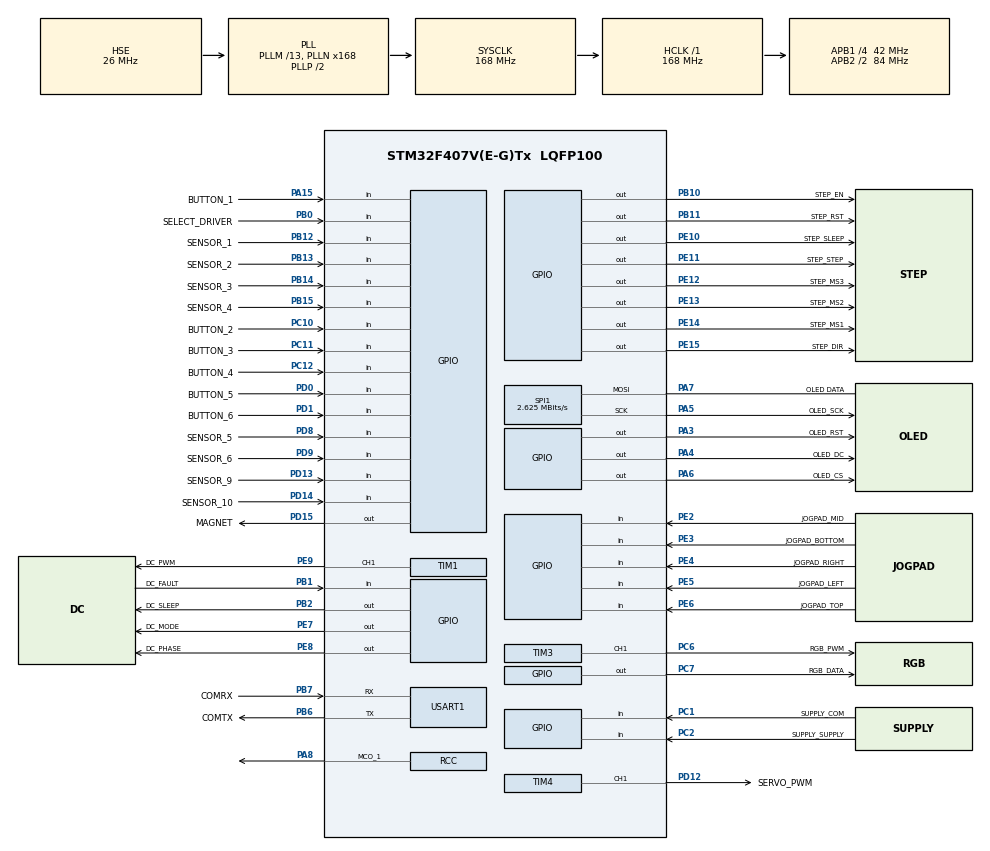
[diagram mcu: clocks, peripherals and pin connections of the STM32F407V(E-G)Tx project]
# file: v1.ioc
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PD12.GPIO_Label=SERVO_PWM
PH0-OSC_IN.Signal=RCC_OSC_IN
PC10.GPIO_PuPd=GPIO_PULLDOWN
SPI1.VirtualType=VM_MASTER
PC12.Signal=GPIO_Input
PB14.GPIO_Label=SENSOR_3
PC6.GPIO_Label=RGB_PWM
PA6.GPIO_Label=OLED_CS
PB6.GPIO_Label=COMTX
PA3.GPIO_Speed=GPIO_SPEED_FREQ_MEDIUM
PB13.Signal=GPIO_Input
PE6.GPIO_Label=JOGPAD_TOP
RCC.SYSCLKSource=RCC_SYSCLKSOURCE_PLLCLK
SPI1.Direction=SPI_DIRECTION_1LINE
RCC.APB2TimFreq_Value=168000000
PB6.Signal=USART1_TX
PC7.Signal=GPIO_Output
PB6.Mode=Asynchronous
SPI1.CalculateBaudRate=2.625 MBits/s
PD0.Signal=GPIO_Input
PD8.Signal=GPIO_Input
PE5.Signal=GPIO_Input
PB2.Signal=GPIO_Output
PD1.GPIO_Label=BUTTON_6
PB12.GPIO_Label=SENSOR_1
TIM1.Channel-PWM\ Generation1\ CH1=TIM_CHANNEL_1
PE9.Signal=S_TIM1_CH1
PB1.GPIO_Label=DC_FAULT
PE4.GPIO_Label=JOGPAD_RIGHT
PE2.Signal=GPIO_Input
PA8.Signal=RCC_MCO_1
PE10.Signal=GPIO_Output
Mcu.Package=LQFP100
PB1.Signal=GPIO_Input
PD12.Signal=S_TIM4_CH1
PE12.GPIO_Label=STEP_MS3
PE12.GPIO_Speed=GPIO_SPEED_FREQ_LOW
RCC.APB2CLKDivider=RCC_HCLK_DIV2
SH.S_TIM4_CH1.0=TIM4_CH1,PWM Generation1 CH1
RCC.APB1TimFreq_Value=84000000
PC12.GPIO_PuPd=GPIO_PULLDOWN
PA6.GPIO_Speed=GPIO_SPEED_FREQ_MEDIUM
NVIC.USART1_IRQn=true\:0\:0\:false\:true\:true\:1\:true\:true
PE10.GPIO_Label=STEP_SLEEP
PE6.GPIO_PuPd=GPIO_PULLDOWN
PA4.GPIO_Label=OLED_DC
PC6.GPIO_Speed=GPIO_SPEED_FREQ_HIGH
PD15.Signal=GPIO_Output
PA5.Mode=Simplex_Bidirectional_Master
PD9.GPIO_Label=SENSOR_6
PE11.GPIO_Speed=GPIO_SPEED_FREQ_HIGH
PC2.Signal=GPIO_Input
PC6.Signal=S_TIM3_CH1
PB11.GPIO_Label=STEP_RST
PD1.Signal=GPIO_Input
PD1.GPIO_PuPd=GPIO_PULLDOWN
RCC.APB1CLKDivider=RCC_HCLK_DIV4
PE8.GPIO_Label=DC_PHASE
PE9.GPIO_Label=DC_PWM
PB10.Signal=GPIO_Output
PB14.Signal=GPIO_Input
PE2.GPIO_PuPd=GPIO_PULLDOWN
PA5.Signal=SPI1_SCK
NVIC.TIM3_IRQn=true\:0\:0\:false\:false\:true\:true\:true
PE14.Signal=GPIO_Output
PE15.Signal=GPIO_Output
PB15.GPIO_Label=SENSOR_4
PE8.Signal=GPIO_Output
SPI1.Mode=SPI_MODE_MASTER
PE3.GPIO_PuPd=GPIO_PULLDOWN
PA13.Mode=Serial_Wire
PE4.GPIO_PuPd=GPIO_PULLDOWN
PC7.GPIO_Label=RGB_DATA
PA4.Signal=GPIO_Output
PE13.GPIO_Label=STEP_MS2
PA5.GPIO_Label=OLED_SCK
PE5.GPIO_Label=JOGPAD_LEFT
PC12.GPIO_Label=BUTTON_4
USART1.VirtualMode=VM_ASYNC
ProjectManager.HeapSize=0x200
PD0.GPIO_PuPd=GPIO_PULLDOWN
NVIC.PriorityGroup=NVIC_PRIORITYGROUP_4
PE3.Signal=GPIO_Input
PA8.Mode=Clock-out-1
PB0.Signal=GPIO_Input
PC1.Signal=GPIO_Input
Mcu.Family=STM32F4
RCC.CortexFreq_Value=168000000
PE11.GPIO_Label=STEP_STEP
PC10.Signal=GPIO_Input
PD0.GPIO_Label=BUTTON_5
PE9.GPIO_Speed=GPIO_SPEED_FREQ_HIGH
PB0.GPIO_Label=SELECT_DRIVER
PB13.GPIO_Label=SENSOR_2
PB11.Signal=GPIO_Output
PB15.Signal=GPIO_Input
ProjectManager.StackSize=0x400
PD13.Signal=GPIO_Input
PA15.GPIO_Label=BUTTON_1
PC11.GPIO_PuPd=GPIO_PULLDOWN
PE5.GPIO_PuPd=GPIO_PULLDOWN
RCC.HCLKFreq_Value=168000000
RCC.AHBFreq_Value=168000000
PH0-OSC_IN.Mode=HSE-External-Oscillator
TIM3.Channel-PWM\ Generation1\ CH1=TIM_CHANNEL_1
RCC.HSE_VALUE=26000000
PA4.GPIO_Speed=GPIO_SPEED_FREQ_MEDIUM
PE13.Signal=GPIO_Output
PA14.Mode=Serial_Wire
PC11.GPIO_Label=BUTTON_3
PB7.Signal=USART1_RX
SH.S_TIM3_CH1.0=TIM3_CH1,PWM Generation1 CH1
PE4.Signal=GPIO_Input
PB7.GPIO_Label=COMRX
PH1-OSC_OUT.Mode=HSE-External-Oscillator
PD13.GPIO_Label=SENSOR_9
PA6.Signal=GPIO_Output
PA15.Signal=GPIO_Input
PE7.Signal=GPIO_Output
SPI1.BaudRatePrescaler=SPI_BAUDRATEPRESCALER_32
PE2.GPIO_Label=JOGPAD_MID
PC2.GPIO_Label=SUPPLY_SUPPLY
PA3.Signal=GPIO_Output
RCC.PLLSourceVirtual=RCC_PLLSOURCE_HSE
TIM4.Channel-PWM\ Generation1\ CH1=TIM_CHANNEL_1
PD12.GPIO_Speed=GPIO_SPEED_FREQ_HIGH
PD15.GPIO_Label=MAGNET
PA7.Mode=Simplex_Bidirectional_Master
PC10.GPIO_Label=BUTTON_2
PC11.Signal=GPIO_Input
PE14.GPIO_Label=STEP_MS1
PD9.Signal=GPIO_Input
VP_RNG_VS_RNG.Mode=RNG_Activate
PD8.GPIO_Label=SENSOR_5
PA13.Signal=SYS_JTMS-SWDIO
SH.S_TIM1_CH1.0=TIM1_CH1,PWM Generation1 CH1
PE15.GPIO_Label=STEP_DIR
ProjectManager.TargetToolchain=MDK-ARM V5.27
PB10.GPIO_Label=STEP_EN
PE11.Signal=GPIO_Output
RCC.LSE_VALUE=32768
board=custom
PC7.GPIO_Speed=GPIO_SPEED_FREQ_HIGH
RCC.VCOOutputFreq_Value=336000000
RCC.APB2Freq_Value=84000000
PC1.GPIO_Label=SUPPLY_COM
PH1-OSC_OUT.Signal=RCC_OSC_OUT
PD14.GPIO_Label=SENSOR_10
PE6.Signal=GPIO_Input
Mcu.Name=STM32F407V(E-G)Tx
PE7.GPIO_Label=DC_MODE
PE12.Signal=GPIO_Output
PD14.Signal=GPIO_Input
RCC.48MHZClocksFreq_Value=48000000
RCC.SYSCLKFreq_VALUE=168000000
PA7.GPIO_Label=OLED DATA
PB7.Mode=Asynchronous
PA14.Signal=SYS_JTCK-SWCLK
PB2.GPIO_Label=DC_SLEEP
RCC.HSI_VALUE=16000000
RCC.PLLQ=7
RCC.PLLM=13
RCC.PLLN=168
PA15.GPIO_PuPd=GPIO_PULLDOWN
PE3.GPIO_Label=JOGPAD_BOTTOM
RCC.APB1Freq_Value=42000000
PB12.Signal=GPIO_Input
PA3.GPIO_Label=OLED_RST
PA7.Signal=SPI1_MOSI

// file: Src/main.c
/* USER CODE BEGIN Header */
/**
  ******************************************************************************
  * @file           : main.c
  * @brief          : Main program body
  ******************************************************************************
  * @attention
  *
  * <h2><center>&copy; Copyright (c) 2020 STMicroelectronics.
  * All rights reserved.</center></h2>
  *
  * This software component is licensed by ST under BSD 3-Clause license,
  * the "License"; You may not use this file except in compliance with the
  * License. You may obtain a copy of the License at:
  *                        opensource.org/licenses/BSD-3-Clause
  *
  ******************************************************************************
  */
/* USER CODE END Header */
#include "main.h"

/* USER CODE BEGIN Includes */
#include <stdio.h>
#include "ssd1351.h"
#include "gfx.h"
#include "menu.h"
#include "COM.h"
#include "buttons.h"
/* USER CODE END Includes */

RNG_HandleTypeDef hrng;

SPI_HandleTypeDef hspi1;

TIM_HandleTypeDef htim1;
TIM_HandleTypeDef htim3;
TIM_HandleTypeDef htim4;

UART_HandleTypeDef huart1;

/* USER CODE BEGIN PV */
extern Colors colors;
/* USER CODE END PV */

void SystemClock_Config(void);
static void MX_GPIO_Init(void);
static void MX_RNG_Init(void);
static void MX_SPI1_Init(void);
static void MX_TIM1_Init(void);
static void MX_TIM3_Init(void);
static void MX_TIM4_Init(void);
static void MX_USART1_UART_Init(void);
static void MX_NVIC_Init(void);
/* USER CODE BEGIN PFP */
void pin_cs(uint8_t pinstate);
void pin_dc(uint8_t pinstate);
void pin_rs(uint8_t pinstate);
void transmit_data(uint8_t *data, uint32_t len);
void user_delay_ms(uint32_t period);
/* USER CODE END PFP */

int main(void)
{

  /* MCU Configuration--------------------------------------------------------*/

  /* Reset of all peripherals, Initializes the Flash interface and the Systick. */
  HAL_Init();

  /* Configure the system clock */
  SystemClock_Config();

  /* Initialize all configured peripherals */
  MX_GPIO_Init();
  MX_RNG_Init();
  MX_SPI1_Init();
  MX_TIM1_Init();
  MX_TIM3_Init();
  MX_TIM4_Init();
  MX_USART1_UART_Init();

  /* Initialize interrupts */
  MX_NVIC_Init();
  /* USER CODE BEGIN 2 */
	s_ssd1351 fnptrs_main;

	fnptrs_main.pin_cs = pin_cs;
	fnptrs_main.pin_rs = pin_rs;
	fnptrs_main.pin_dc = pin_dc;
	fnptrs_main.transmit_data = transmit_data;
	fnptrs_main.delay = user_delay_ms;

	init_oled(1,1, &fnptrs_main);
	COM_TX("START");
	//filled_rect_xy_ab(50,50,50,50,colors.red,1);
	//plot_dot_xy(a,b,colors.red,1);
	SetMenu(4);
	HAL_Delay(1000);
	SetMenu(1);

  /* USER CODE END 2 */

  /* Infinite loop */
  while (1)
  {
    /* USER CODE BEGIN 3 */
		Button_manager(ReadJogpad());
  }
  /* USER CODE END 3 */
}

void SystemClock_Config(void)
{
  RCC_OscInitTypeDef RCC_OscInitStruct = {0};
  RCC_ClkInitTypeDef RCC_ClkInitStruct = {0};

  /** Configure the main internal regulator output voltage
  */
  __HAL_RCC_PWR_CLK_ENABLE();
  __HAL_PWR_VOLTAGESCALING_CONFIG(PWR_REGULATOR_VOLTAGE_SCALE1);
  /** Initializes the RCC Oscillators according to the specified parameters
  * in the RCC_OscInitTypeDef structure.
  */
  RCC_OscInitStruct.OscillatorType = RCC_OSCILLATORTYPE_HSI|RCC_OSCILLATORTYPE_HSE;
  RCC_OscInitStruct.HSEState = RCC_HSE_ON;
  RCC_OscInitStruct.HSIState = RCC_HSI_ON;
  RCC_OscInitStruct.HSICalibrationValue = RCC_HSICALIBRATION_DEFAULT;
  RCC_OscInitStruct.PLL.PLLState = RCC_PLL_ON;
  RCC_OscInitStruct.PLL.PLLSource = RCC_PLLSOURCE_HSE;
  RCC_OscInitStruct.PLL.PLLM = 13;
  RCC_OscInitStruct.PLL.PLLN = 168;
  RCC_OscInitStruct.PLL.PLLP = RCC_PLLP_DIV2;
  RCC_OscInitStruct.PLL.PLLQ = 7;
  if (HAL_RCC_OscConfig(&RCC_OscInitStruct) != HAL_OK)
  {
    Error_Handler();
  }
  /** Initializes the CPU, AHB and APB buses clocks
  */
  RCC_ClkInitStruct.ClockType = RCC_CLOCKTYPE_HCLK|RCC_CLOCKTYPE_SYSCLK
                              |RCC_CLOCKTYPE_PCLK1|RCC_CLOCKTYPE_PCLK2;
  RCC_ClkInitStruct.SYSCLKSource = RCC_SYSCLKSOURCE_PLLCLK;
  RCC_ClkInitStruct.AHBCLKDivider = RCC_SYSCLK_DIV1;
  RCC_ClkInitStruct.APB1CLKDivider = RCC_HCLK_DIV4;
  RCC_ClkInitStruct.APB2CLKDivider = RCC_HCLK_DIV2;

  if (HAL_RCC_ClockConfig(&RCC_ClkInitStruct, FLASH_LATENCY_5) != HAL_OK)
  {
    Error_Handler();
  }
  HAL_RCC_MCOConfig(RCC_MCO1, RCC_MCO1SOURCE_HSI, RCC_MCODIV_1);
}

/**
  * @brief NVIC Configuration.
  * @retval None
  */
static void MX_NVIC_Init(void)
{
  /* USART1_IRQn interrupt configuration */
  HAL_NVIC_SetPriority(USART1_IRQn, 0, 0);
  HAL_NVIC_EnableIRQ(USART1_IRQn);
}

static void MX_RNG_Init(void)
{

  hrng.Instance = RNG;
  if (HAL_RNG_Init(&hrng) != HAL_OK)
  {
    Error_Handler();
  }

}

static void MX_SPI1_Init(void)
{

  /* SPI1 parameter configuration*/
  hspi1.Instance = SPI1;
  hspi1.Init.Mode = SPI_MODE_MASTER;
  hspi1.Init.Direction = SPI_DIRECTION_1LINE;
  hspi1.Init.DataSize = SPI_DATASIZE_8BIT;
  hspi1.Init.CLKPolarity = SPI_POLARITY_LOW;
  hspi1.Init.CLKPhase = SPI_PHASE_1EDGE;
  hspi1.Init.NSS = SPI_NSS_SOFT;
  hspi1.Init.BaudRatePrescaler = SPI_BAUDRATEPRESCALER_32;
  hspi1.Init.FirstBit = SPI_FIRSTBIT_MSB;
  hspi1.Init.TIMode = SPI_TIMODE_DISABLE;
  hspi1.Init.CRCCalculation = SPI_CRCCALCULATION_DISABLE;
  hspi1.Init.CRCPolynomial = 10;
  if (HAL_SPI_Init(&hspi1) != HAL_OK)
  {
    Error_Handler();
  }

}

static void MX_TIM1_Init(void)
{

  TIM_MasterConfigTypeDef sMasterConfig = {0};
  TIM_OC_InitTypeDef sConfigOC = {0};
  TIM_BreakDeadTimeConfigTypeDef sBreakDeadTimeConfig = {0};

  htim1.Instance = TIM1;
  htim1.Init.Prescaler = 0;
  htim1.Init.CounterMode = TIM_COUNTERMODE_UP;
  htim1.Init.Period = 65535;
  htim1.Init.ClockDivision = TIM_CLOCKDIVISION_DIV1;
  htim1.Init.RepetitionCounter = 0;
  htim1.Init.AutoReloadPreload = TIM_AUTORELOAD_PRELOAD_DISABLE;
  if (HAL_TIM_PWM_Init(&htim1) != HAL_OK)
  {
    Error_Handler();
  }
  sMasterConfig.MasterOutputTrigger = TIM_TRGO_RESET;
  sMasterConfig.MasterSlaveMode = TIM_MASTERSLAVEMODE_DISABLE;
  if (HAL_TIMEx_MasterConfigSynchronization(&htim1, &sMasterConfig) != HAL_OK)
  {
    Error_Handler();
  }
  sConfigOC.OCMode = TIM_OCMODE_PWM1;
  sConfigOC.Pulse = 0;
  sConfigOC.OCPolarity = TIM_OCPOLARITY_HIGH;
  sConfigOC.OCNPolarity = TIM_OCNPOLARITY_HIGH;
  sConfigOC.OCFastMode = TIM_OCFAST_DISABLE;
  sConfigOC.OCIdleState = TIM_OCIDLESTATE_RESET;
  sConfigOC.OCNIdleState = TIM_OCNIDLESTATE_RESET;
  if (HAL_TIM_PWM_ConfigChannel(&htim1, &sConfigOC, TIM_CHANNEL_1) != HAL_OK)
  {
    Error_Handler();
  }
  sBreakDeadTimeConfig.OffStateRunMode = TIM_OSSR_DISABLE;
  sBreakDeadTimeConfig.OffStateIDLEMode = TIM_OSSI_DISABLE;
  sBreakDeadTimeConfig.LockLevel = TIM_LOCKLEVEL_OFF;
  sBreakDeadTimeConfig.DeadTime = 0;
  sBreakDeadTimeConfig.BreakState = TIM_BREAK_DISABLE;
  sBreakDeadTimeConfig.BreakPolarity = TIM_BREAKPOLARITY_HIGH;
  sBreakDeadTimeConfig.AutomaticOutput = TIM_AUTOMATICOUTPUT_DISABLE;
  if (HAL_TIMEx_ConfigBreakDeadTime(&htim1, &sBreakDeadTimeConfig) != HAL_OK)
  {
    Error_Handler();
  }
  HAL_TIM_MspPostInit(&htim1);

}

static void MX_TIM3_Init(void)
{

  TIM_MasterConfigTypeDef sMasterConfig = {0};
  TIM_OC_InitTypeDef sConfigOC = {0};

  htim3.Instance = TIM3;
  htim3.Init.Prescaler = 0;
  htim3.Init.CounterMode = TIM_COUNTERMODE_UP;
  htim3.Init.Period = 65535;
  htim3.Init.ClockDivision = TIM_CLOCKDIVISION_DIV1;
  htim3.Init.AutoReloadPreload = TIM_AUTORELOAD_PRELOAD_DISABLE;
  if (HAL_TIM_PWM_Init(&htim3) != HAL_OK)
  {
    Error_Handler();
  }
  sMasterConfig.MasterOutputTrigger = TIM_TRGO_RESET;
  sMasterConfig.MasterSlaveMode = TIM_MASTERSLAVEMODE_DISABLE;
  if (HAL_TIMEx_MasterConfigSynchronization(&htim3, &sMasterConfig) != HAL_OK)
  {
    Error_Handler();
  }
  sConfigOC.OCMode = TIM_OCMODE_PWM1;
  sConfigOC.Pulse = 0;
  sConfigOC.OCPolarity = TIM_OCPOLARITY_HIGH;
  sConfigOC.OCFastMode = TIM_OCFAST_DISABLE;
  if (HAL_TIM_PWM_ConfigChannel(&htim3, &sConfigOC, TIM_CHANNEL_1) != HAL_OK)
  {
    Error_Handler();
  }
  HAL_TIM_MspPostInit(&htim3);

}

static void MX_TIM4_Init(void)
{

  TIM_MasterConfigTypeDef sMasterConfig = {0};
  TIM_OC_InitTypeDef sConfigOC = {0};

  htim4.Instance = TIM4;
  htim4.Init.Prescaler = 0;
  htim4.Init.CounterMode = TIM_COUNTERMODE_UP;
  htim4.Init.Period = 65535;
  htim4.Init.ClockDivision = TIM_CLOCKDIVISION_DIV1;
  htim4.Init.AutoReloadPreload = TIM_AUTORELOAD_PRELOAD_DISABLE;
  if (HAL_TIM_PWM_Init(&htim4) != HAL_OK)
  {
    Error_Handler();
  }
  sMasterConfig.MasterOutputTrigger = TIM_TRGO_RESET;
  sMasterConfig.MasterSlaveMode = TIM_MASTERSLAVEMODE_DISABLE;
  if (HAL_TIMEx_MasterConfigSynchronization(&htim4, &sMasterConfig) != HAL_OK)
  {
    Error_Handler();
  }
  sConfigOC.OCMode = TIM_OCMODE_PWM1;
  sConfigOC.Pulse = 0;
  sConfigOC.OCPolarity = TIM_OCPOLARITY_HIGH;
  sConfigOC.OCFastMode = TIM_OCFAST_DISABLE;
  if (HAL_TIM_PWM_ConfigChannel(&htim4, &sConfigOC, TIM_CHANNEL_1) != HAL_OK)
  {
    Error_Handler();
  }
  HAL_TIM_MspPostInit(&htim4);

}

static void MX_USART1_UART_Init(void)
{

  huart1.Instance = USART1;
  huart1.Init.BaudRate = 115200;
  huart1.Init.WordLength = UART_WORDLENGTH_8B;
  huart1.Init.StopBits = UART_STOPBITS_1;
  huart1.Init.Parity = UART_PARITY_NONE;
  huart1.Init.Mode = UART_MODE_TX_RX;
  huart1.Init.HwFlowCtl = UART_HWCONTROL_NONE;
  huart1.Init.OverSampling = UART_OVERSAMPLING_16;
  if (HAL_UART_Init(&huart1) != HAL_OK)
  {
    Error_Handler();
  }

}

static void MX_GPIO_Init(void)
{
  GPIO_InitTypeDef GPIO_InitStruct = {0};

  /* GPIO Ports Clock Enable */
  __HAL_RCC_GPIOE_CLK_ENABLE();
  __HAL_RCC_GPIOH_CLK_ENABLE();
  __HAL_RCC_GPIOC_CLK_ENABLE();
  __HAL_RCC_GPIOA_CLK_ENABLE();
  __HAL_RCC_GPIOB_CLK_ENABLE();
  __HAL_RCC_GPIOD_CLK_ENABLE();

  /*Configure GPIO pin Output Level */
  HAL_GPIO_WritePin(GPIOA, OLED_RST_Pin|OLED_DC_Pin|OLED_CS_Pin, GPIO_PIN_RESET);

  /*Configure GPIO pin Output Level */
  HAL_GPIO_WritePin(GPIOB, DC_SLEEP_Pin|STEP_EN_Pin|STEP_RST_Pin, GPIO_PIN_RESET);

  /*Configure GPIO pin Output Level */
  HAL_GPIO_WritePin(GPIOE, DC_MODE_Pin|DC_PHASE_Pin|STEP_SLEEP_Pin|STEP_STEP_Pin
                          |STEP_MS3_Pin|STEP_MS2_Pin|STEP_MS1_Pin|STEP_DIR_Pin, GPIO_PIN_RESET);

  /*Configure GPIO pin Output Level */
  HAL_GPIO_WritePin(MAGNET_GPIO_Port, MAGNET_Pin, GPIO_PIN_RESET);

  /*Configure GPIO pin Output Level */
  HAL_GPIO_WritePin(RGB_DATA_GPIO_Port, RGB_DATA_Pin, GPIO_PIN_RESET);

  /*Configure GPIO pins : JOGPAD_MID_Pin JOGPAD_BOTTOM_Pin JOGPAD_RIGHT_Pin JOGPAD_LEFT_Pin
                           JOGPAD_TOP_Pin */
  GPIO_InitStruct.Pin = JOGPAD_MID_Pin|JOGPAD_BOTTOM_Pin|JOGPAD_RIGHT_Pin|JOGPAD_LEFT_Pin
                          |JOGPAD_TOP_Pin;
  GPIO_InitStruct.Mode = GPIO_MODE_INPUT;
  GPIO_InitStruct.Pull = GPIO_PULLDOWN;
  HAL_GPIO_Init(GPIOE, &GPIO_InitStruct);

  /*Configure GPIO pins : SUPPLY_COM_Pin SUPPLY_SUPPLY_Pin */
  GPIO_InitStruct.Pin = SUPPLY_COM_Pin|SUPPLY_SUPPLY_Pin;
  GPIO_InitStruct.Mode = GPIO_MODE_INPUT;
  GPIO_InitStruct.Pull = GPIO_NOPULL;
  HAL_GPIO_Init(GPIOC, &GPIO_InitStruct);

  /*Configure GPIO pins : OLED_RST_Pin OLED_DC_Pin OLED_CS_Pin */
  GPIO_InitStruct.Pin = OLED_RST_Pin|OLED_DC_Pin|OLED_CS_Pin;
  GPIO_InitStruct.Mode = GPIO_MODE_OUTPUT_PP;
  GPIO_InitStruct.Pull = GPIO_NOPULL;
  GPIO_InitStruct.Speed = GPIO_SPEED_FREQ_MEDIUM;
  HAL_GPIO_Init(GPIOA, &GPIO_InitStruct);

  /*Configure GPIO pins : SELECT_DRIVER_Pin DC_FAULT_Pin SENSOR_1_Pin SENSOR_2_Pin
                           SENSOR_3_Pin SENSOR_4_Pin */
  GPIO_InitStruct.Pin = SELECT_DRIVER_Pin|DC_FAULT_Pin|SENSOR_1_Pin|SENSOR_2_Pin
                          |SENSOR_3_Pin|SENSOR_4_Pin;
  GPIO_InitStruct.Mode = GPIO_MODE_INPUT;
  GPIO_InitStruct.Pull = GPIO_NOPULL;
  HAL_GPIO_Init(GPIOB, &GPIO_InitStruct);

  /*Configure GPIO pins : DC_SLEEP_Pin STEP_EN_Pin STEP_RST_Pin */
  GPIO_InitStruct.Pin = DC_SLEEP_Pin|STEP_EN_Pin|STEP_RST_Pin;
  GPIO_InitStruct.Mode = GPIO_MODE_OUTPUT_PP;
  GPIO_InitStruct.Pull = GPIO_NOPULL;
  GPIO_InitStruct.Speed = GPIO_SPEED_FREQ_LOW;
  HAL_GPIO_Init(GPIOB, &GPIO_InitStruct);

  /*Configure GPIO pins : DC_MODE_Pin DC_PHASE_Pin STEP_SLEEP_Pin STEP_MS3_Pin
                           STEP_MS2_Pin STEP_MS1_Pin STEP_DIR_Pin */
  GPIO_InitStruct.Pin = DC_MODE_Pin|DC_PHASE_Pin|STEP_SLEEP_Pin|STEP_MS3_Pin
                          |STEP_MS2_Pin|STEP_MS1_Pin|STEP_DIR_Pin;
  GPIO_InitStruct.Mode = GPIO_MODE_OUTPUT_PP;
  GPIO_InitStruct.Pull = GPIO_NOPULL;
  GPIO_InitStruct.Speed = GPIO_SPEED_FREQ_LOW;
  HAL_GPIO_Init(GPIOE, &GPIO_InitStruct);

  /*Configure GPIO pin : STEP_STEP_Pin */
  GPIO_InitStruct.Pin = STEP_STEP_Pin;
  GPIO_InitStruct.Mode = GPIO_MODE_OUTPUT_PP;
  GPIO_InitStruct.Pull = GPIO_NOPULL;
  GPIO_InitStruct.Speed = GPIO_SPEED_FREQ_HIGH;
  HAL_GPIO_Init(STEP_STEP_GPIO_Port, &GPIO_InitStruct);

  /*Configure GPIO pins : SENSOR_5_Pin SENSOR_6_Pin SENSOR_9_Pin SENSOR_10_Pin */
  GPIO_InitStruct.Pin = SENSOR_5_Pin|SENSOR_6_Pin|SENSOR_9_Pin|SENSOR_10_Pin;
  GPIO_InitStruct.Mode = GPIO_MODE_INPUT;
  GPIO_InitStruct.Pull = GPIO_NOPULL;
  HAL_GPIO_Init(GPIOD, &GPIO_InitStruct);

  /*Configure GPIO pin : MAGNET_Pin */
  GPIO_InitStruct.Pin = MAGNET_Pin;
  GPIO_InitStruct.Mode = GPIO_MODE_OUTPUT_PP;
  GPIO_InitStruct.Pull = GPIO_NOPULL;
  GPIO_InitStruct.Speed = GPIO_SPEED_FREQ_LOW;
  HAL_GPIO_Init(MAGNET_GPIO_Port, &GPIO_InitStruct);

  /*Configure GPIO pin : RGB_DATA_Pin */
  GPIO_InitStruct.Pin = RGB_DATA_Pin;
  GPIO_InitStruct.Mode = GPIO_MODE_OUTPUT_PP;
  GPIO_InitStruct.Pull = GPIO_NOPULL;
  GPIO_InitStruct.Speed = GPIO_SPEED_FREQ_HIGH;
  HAL_GPIO_Init(RGB_DATA_GPIO_Port, &GPIO_InitStruct);

  /*Configure GPIO pin : PA8 */
  GPIO_InitStruct.Pin = GPIO_PIN_8;
  GPIO_InitStruct.Mode = GPIO_MODE_AF_PP;
  GPIO_InitStruct.Pull = GPIO_NOPULL;
  GPIO_InitStruct.Speed = GPIO_SPEED_FREQ_LOW;
  GPIO_InitStruct.Alternate = GPIO_AF0_MCO;
  HAL_GPIO_Init(GPIOA, &GPIO_InitStruct);

  /*Configure GPIO pin : BUTTON_1_Pin */
  GPIO_InitStruct.Pin = BUTTON_1_Pin;
  GPIO_InitStruct.Mode = GPIO_MODE_INPUT;
  GPIO_InitStruct.Pull = GPIO_PULLDOWN;
  HAL_GPIO_Init(BUTTON_1_GPIO_Port, &GPIO_InitStruct);

  /*Configure GPIO pins : BUTTON_2_Pin BUTTON_3_Pin BUTTON_4_Pin */
  GPIO_InitStruct.Pin = BUTTON_2_Pin|BUTTON_3_Pin|BUTTON_4_Pin;
  GPIO_InitStruct.Mode = GPIO_MODE_INPUT;
  GPIO_InitStruct.Pull = GPIO_PULLDOWN;
  HAL_GPIO_Init(GPIOC, &GPIO_InitStruct);

  /*Configure GPIO pins : BUTTON_5_Pin BUTTON_6_Pin */
  GPIO_InitStruct.Pin = BUTTON_5_Pin|BUTTON_6_Pin;
  GPIO_InitStruct.Mode = GPIO_MODE_INPUT;
  GPIO_InitStruct.Pull = GPIO_PULLDOWN;
  HAL_GPIO_Init(GPIOD, &GPIO_InitStruct);

}

/* USER CODE BEGIN 4 */
void pin_cs(uint8_t pinstate)
{
	HAL_GPIO_WritePin(OLED_CS_GPIO_Port, OLED_CS_Pin, pinstate);
}

void pin_dc(uint8_t pinstate)
{
	HAL_GPIO_WritePin(OLED_CS_GPIO_Port, OLED_DC_Pin, pinstate);
}

void pin_rs(uint8_t pinstate)
{
	HAL_GPIO_WritePin(OLED_CS_GPIO_Port, OLED_RST_Pin, pinstate);
}

void transmit_data(uint8_t *data, uint32_t len)
{
	HAL_SPI_Transmit(&hspi1, data, len, 1000);
}
void user_delay_ms(uint32_t period)
{
	HAL_Delay(period);
}
/* USER CODE END 4 */

void Error_Handler(void)
{
}

/************************ (C) COPYRIGHT STMicroelectronics *****END OF FILE****/
